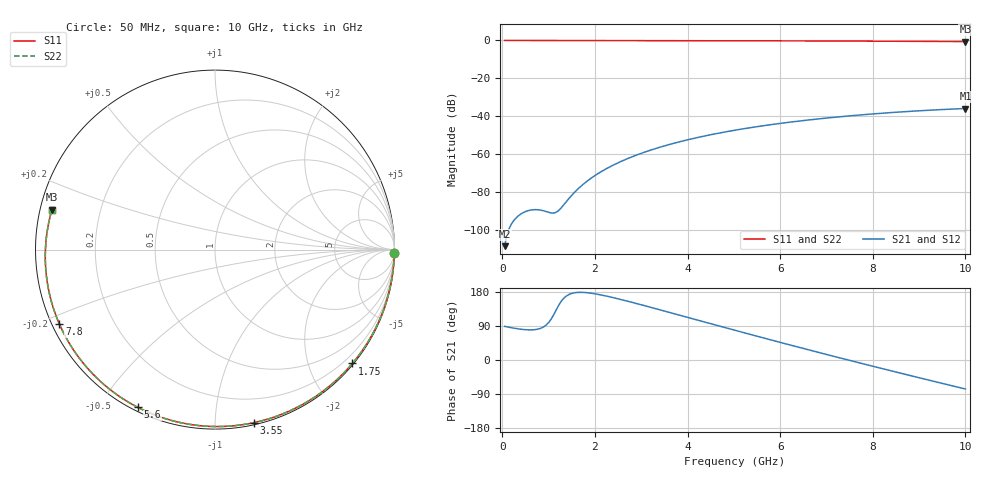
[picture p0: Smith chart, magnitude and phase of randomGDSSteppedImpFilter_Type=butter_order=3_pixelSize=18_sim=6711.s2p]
! freq	dB(S11)	phase(S11)	dB(S12)	phase(S12)
!  dB(S21)	phase(S21)	dB(S22)	phase(S22)
!S-par simulation data
#  GHz  S  DB  R 50
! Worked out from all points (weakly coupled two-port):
!   200 points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, 50 MHz to 10 GHz, reference 50 ohm
!   highest |S21| = -35.84 dB at 10 GHz (marker M1); lowest = -108.3 dB at 50 MHz (marker M2)
!   lowest |S11| = -0.6 dB at 10 GHz (marker M3), VSWR 29.92, Z = 1.7 + j6.03 ohm
!   |S11| at or under -10 dB: nowhere
!   |S22| runs from -0.6 to 0.0 dB; largest |S21 - S12| = 0
!   S11 on the Smith chart (normalised r, x): 50 MHz: open; 1.75 GHz: 0.03, -2.77; 3.55 GHz: 0.02, -1.25; 5.6 GHz: 0.02, -0.62; 7.8 GHz: 0.02, -0.23; 10 GHz: 0.03, +0.12
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0.05  -0.00 -1.1  -108.34 88.7  -108.34 88.7  -0.00 -1.1
0.45  -0.02 -10.3  -90.70 80.5  -90.70 80.5  -0.02 -10.3
0.8  -0.02 -18.4  -89.24 82.5  -89.24 82.5  -0.02 -18.4
1.15  -0.03 -26.3  -90.64 128.7  -90.64 128.7  -0.03 -26.3
1.55  -0.04 -35.2  -80.22 177.2  -80.22 177.2  -0.04 -35.2
1.75  -0.05 -39.6  -75.67 178.4  -75.67 178.4  -0.05 -39.6
2.05  -0.06 -46.2  -70.37 173.6  -70.37 173.6  -0.06 -46.2
2.25  -0.06 -50.5  -67.51 168.7  -67.51 168.7  -0.06 -50.5
2.45  -0.07 -54.8  -65.01 163.0  -65.01 163.0  -0.07 -54.8
2.9  -0.08 -64.2  -60.35 149.0  -60.35 149.0  -0.08 -64.2
3.4  -0.10 -74.4  -56.26 132.6  -56.26 132.6  -0.10 -74.4
3.55  -0.10 -77.4  -55.19 127.6  -55.19 127.6  -0.10 -77.4
4.3  -0.13 -92.1  -50.67 102.5  -50.67 102.5  -0.13 -92.1
5.05  -0.16 -106.1  -47.16 77.5  -47.16 77.5  -0.16 -106.1
5.6  -0.19 -116.1  -45.04 59.5  -45.04 59.5  -0.19 -116.1
6.15  -0.22 -125.9  -43.21 41.7  -43.21 41.7  -0.22 -125.9
6.7  -0.26 -135.5  -41.64 24.1  -41.64 24.1  -0.26 -135.5
7.25  -0.30 -145.0  -40.28 6.8  -40.28 6.8  -0.30 -145.0
7.8  -0.35 -154.5  -39.09 -10.3  -39.09 -10.3  -0.35 -154.5
8.35  -0.40 -164.1  -38.06 -27.2  -38.06 -27.2  -0.40 -164.1
9.2  -0.49 -179.1  -36.76 -52.8  -36.76 -52.8  -0.49 -179.1
10  -0.58 166.2  -35.84 -76.5  -35.84 -76.5  -0.58 166.2
